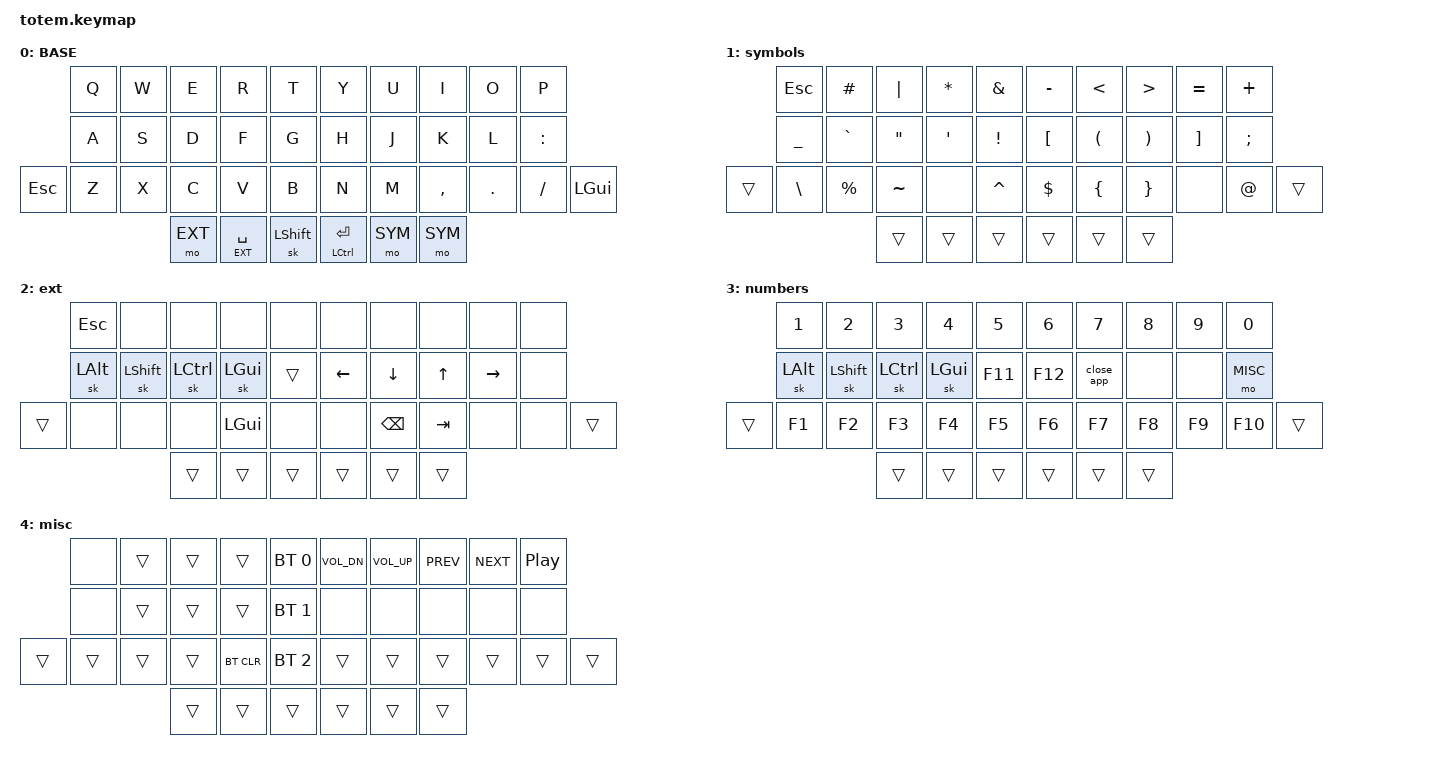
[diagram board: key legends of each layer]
//
//                                                        ▀▀▀▀▀     ▀▀▀▀▀          ▀▀█▀▀
//                                                        ▄▀▀▀▄  ▄  ▄▀▀▀▄  ▄  ▄▀▀▀▄  █  ▄▀▀▀▄
//                                                        █   █  █  █   █  █  █   █  █  █   █
//                                                         ▀▀▀   █   ▀▀▀   █   ▀▀▀   ▀   ▀▀▀
//                                                               █      ▄▄▄█▄▄▄    █   █  
//                                                               ▀      █  █  █     █▄█
//                                                             ▀▀▀▀▀    █  █  █      ▀
//                                                                      ▀  ▀  ▀
//
// ▄▄▄▄▄▄▄▄▄▄▄▄▄▄▄▄▄▄▄▄▄▄▄▄▄▄▄▄▄▄▄▄▄▄▄▄▄▄▄▄▄▄▄▄▄▄▄▄▄▄▄▄▄▄▄▄▄▄▄▄▄▄▄▄▄▄▄▄▄▄▄▄▄▄▄▄▄▄▄▄▄▄▄▄▄▄▄▄▄▄▄▄▄▄▄▄▄▄▄▄▄▄▄▄▄▄▄▄▄▄▄▄▄▄▄▄▄▄▄▄▄▄▄▄▄▄▄▄▄▄▄▄▄▄▄▄▄▄▄▄▄▄▄▄▄▄▄▄▄
       

#include <behaviors.dtsi>
#include <dt-bindings/zmk/keys.h>
#include <dt-bindings/zmk/bt.h>
#include <dt-bindings/zmk/outputs.h>

#define BASE 0
#define SYM 1
#define EXT 2
#define NUM 3
#define MISC 4

&sk {
    release-after-ms = <5000>;
    ignore-modifiers;
};


&mt {
  quick-tap-ms = <100>;
  global-quick-tap;
  flavor = "tap-preferred";
  tapping-term-ms = <170>;
};

/ {

    behaviors {
      ht: hold_tap {
          compatible = "zmk,behavior-hold-tap";
          #binding-cells = <2>;
          flavor = "tap-preferred";
          tapping-term-ms = <220>;
          quick-tap-ms = <150>;
          require-prior-idle-ms = <100>;
          bindings = <&kp>, <&kp>;
      };
    };

    combos {
        compatible = "zmk,combos";
        combo_esc {
            timeout-ms = <50>;
            key-positions = <0 1>;
            bindings = <&kp ESC>;
        };
    };

    macros {
      close_app: close_app {
          compatible = "zmk,behavior-macro";
          #binding-cells = <0>;
          bindings
              = <&macro_press &kp LALT>
              , <&macro_tap &kp F4>
              , <&macro_release &kp LALT>
              ;
          };
      };

    conditional_layers {
      compatible = "zmk,conditional-layers";
      tri_layer {
          if-layers = <1 2>;
          then-layer = <3>;
      };
    };


        keymap {
                compatible = "zmk,keymap";
// ▄▄▄▄▄▄▄▄▄▄▄▄▄▄▄▄▄▄▄▄▄▄▄▄▄▄▄▄▄▄▄▄▄▄▄▄▄▄▄▄▄▄▄▄▄▄▄▄▄▄▄▄▄▄▄▄▄▄▄▄▄▄▄▄▄▄▄▄▄▄▄▄▄▄▄▄▄▄▄▄▄▄▄▄▄▄▄▄▄▄▄▄▄▄▄▄▄▄▄▄▄▄▄▄▄▄▄▄▄▄▄▄▄▄▄▄▄▄▄▄▄▄▄▄▄▄▄▄▄▄▄▄▄▄▄▄▄▄▄▄▄▄▄▄▄▄▄▄▄

                base_layer {
// ┏━━━━━━━━━━━━━━━━━━━━━━━━━━━━━━━━━━━━━━━┓
label= "BASE"                              ;
// ┗━━━━━━━━━━━━━━━━━━━━━━━━━━━━━━━━━━━━━━━┛
//             ┏━━━━━━━━━━━┳━━━━━━━━━━━┳━━━━━━━━━━━┳━━━━━━━━━━━┳━━━━━━━━━━━┓   ┏━━━━━━━━━━━┳━━━━━━━━━━━┳━━━━━━━━━━━┳━━━━━━━━━━━┳━━━━━━━━━━━┓
//             ┃     Q     ┃     W     ┃     F     ┃     P     ┃     G     ┃   ┃     J     ┃     L     ┃     U     ┃     Y     ┃     ;     ┃
//             ┣━━━━━━━━━━━╋━━━━━━━━━━━╋━━━━━━━━━━━╋━━━━━━━━━━━╋━━━━━━━━━━━┫   ┣━━━━━━━━━━━╋━━━━━━━━━━━╋━━━━━━━━━━━╋━━━━━━━━━━━╋━━━━━━━━━━━┫
//             ┃     A     ┃     R     ┃     S     ┃     T     ┃     D     ┃   ┃     H     ┃     N     ┃     E     ┃     I     ┃     O     ┃
// ┏━━━━━━━━━━━╋━━━━━━━━━━━╋━━━━━━━━━━━╋━━━━━━━━━━━╋━━━━━━━━━━━╋━━━━━━━━━━━┫   ┣━━━━━━━━━━━╋━━━━━━━━━━━╋━━━━━━━━━━━╋━━━━━━━━━━━╋━━━━━━━━━━━╋━━━━━━━━━━━┓
// ┃     Q     ┃     Z     ┃     X     ┃     C     ┃     V     ┃     B     ┃   ┃     K     ┃     M     ┃     ,     ┃     .     ┃     /     ┃     \     ┃
// ┗━━━━━━━━━━━┻━━━━━━━━━━━┻━━━━━━━━━━━╋━━━━━━━━━━━╋━━━━━━━━━━━╋━━━━━━━━━━━┫   ┣━━━━━━━━━━━╋━━━━━━━━━━━╋━━━━━━━━━━━╋━━━━━━━━━━━┻━━━━━━━━━━━┻━━━━━━━━━━━┛
//                                     ┃    DEL    ┃    TAB    ┃    SPC    ┃   ┃   ENTER   ┃           ┃   BSPC    ┃
//                                     ┗━━━━━━━━━━━┻━━━━━━━━━━━┻━━━━━━━━━━━┛   ┗━━━━━━━━━━━┻━━━━━━━━━━━┻━━━━━━━━━━━┛
 bindings = <
// ╷           ╷           ╷           ╷           ╷           ╷           ╷   ╷           ╷           ╷           ╷           ╷           ╷           ╷

                &kp Q       &kp W       &kp E         &kp R       &kp T           &kp Y       &kp U       &kp I       &kp O       &kp P
                &kp A       &kp S       &kp D         &kp F       &kp G           &kp H       &kp J       &kp K       &kp L      &kp COLON
     &kp ESC    &kp Z       &kp X       &kp C          &kp V   &kp B               &kp N    &kp M     &kp COMMA      &kp DOT    &kp FSLH  &kp LGUI
                                     &mo EXT   &lt EXT SPACE  &sk LSHFT               &mt LCTRL ENTER  &mo SYM &mo SYM
                        >;
                };

// ▄▄▄▄▄▄▄▄▄▄▄▄▄▄▄▄▄▄▄▄▄▄▄▄▄▄▄▄▄▄▄▄▄▄▄▄▄▄▄▄▄▄▄▄▄▄▄▄▄▄▄▄▄▄▄▄▄▄▄▄▄▄▄▄▄▄▄▄▄▄▄▄▄▄▄▄▄▄▄▄▄▄▄▄▄▄▄▄▄▄▄▄▄▄▄▄▄▄▄▄▄▄▄▄▄▄▄▄▄▄▄▄▄▄▄▄▄▄▄▄▄▄▄▄▄▄▄▄▄▄▄▄▄▄▄▄▄▄▄▄▄▄▄▄▄▄▄▄▄

        symbols {
            bindings = <
        //╭──────────┬──────────┬──────────┬──────────┬──────────╮   ╭──────────┬──────────┬──────────┬──────────┬──────────╮
            &kp ESC    &kp HASH    &kp PIPE   &kp STAR   &kp AMPS      &kp MINUS  &kp LT      &kp GT   &kp EQUAL    &kp PLUS
        //├──────────┼──────────┼──────────┼──────────┼──────────┤   ├──────────┼──────────┼──────────┼──────────┼──────────┤
           &kp UNDER   &kp GRAVE  &kp DQT   &kp SQT      &kp EXCL        &kp LBKT  &kp LPAR    &kp RPAR   &kp RBKT   &kp SEMI
        //├──────────┼──────────┼──────────┼──────────┼──────────┤   ├──────────┼──────────┼──────────┼──────────┼──────────┤
    &trans    &kp BACKSLASH &kp PRCNT  &kp TILDE    &none   &kp CARET        &kp DLLR  &kp LBRC  &kp RBRC    &none      &kp AT  &trans
        //╰──────────┴──────────┴──────────┼──────────┼──────────┤   ├──────────┼──────────┼──────────┴──────────┴──────────╯
                                        &trans     &trans  &trans      &trans &trans     &trans
        //                                 ╰──────────┴──────────╯   ╰──────────┴──────────╯
            >;
        };

// ▄▄▄▄▄▄▄▄▄▄▄▄▄▄▄▄▄▄▄▄▄▄▄▄▄▄▄▄▄▄▄▄▄▄▄▄▄▄▄▄▄▄▄▄▄▄▄▄▄▄▄▄▄▄▄▄▄▄▄▄▄▄▄▄▄▄▄▄▄▄▄▄▄▄▄▄▄▄▄▄▄▄▄▄▄▄▄▄▄▄▄▄▄▄▄▄▄▄▄▄▄▄▄▄▄▄▄▄▄▄▄▄▄▄▄▄▄▄▄▄▄▄▄▄▄▄▄▄▄▄▄▄▄▄▄▄▄▄▄▄▄▄▄▄▄▄▄▄▄

            ext {
            bindings = <
        //╭──────────┬──────────┬──────────┬──────────┬──────────╮   ╭──────────┬──────────┬──────────┬──────────┬──────────╮
            &kp ESC      &none     &none     &none      &none           &none     &none      &none       &none     &none
        //├──────────┼──────────┼──────────┼──────────┼──────────┤   ├──────────┼──────────┼──────────┼──────────┼──────────┤
             &sk LALT  &sk LSHFT  &sk LCTRL  &sk LGUI     &trans       &kp LEFT   &kp DOWN     &kp UP    &kp RIGHT  &none
        //├──────────┼──────────┼──────────┼──────────┼──────────┤   ├──────────┼──────────┼──────────┼──────────┼──────────┤
           &trans    &none    &none     &none      &kp LGUI      &none       &none      &kp BSPC    &kp TAB     &none      &none  &trans
        //╰──────────┴──────────┴──────────┼──────────┼──────────┤   ├──────────┼──────────┼──────────┴──────────┴──────────╯
                                        &trans     &trans  &trans      &trans &trans     &trans
        //                                 ╰──────────┴──────────╯   ╰──────────┴──────────╯
            >;
        };



// ▄▄▄▄▄▄▄▄▄▄▄▄▄▄▄▄▄▄▄▄▄▄▄▄▄▄▄▄▄▄▄▄▄▄▄▄▄▄▄▄▄▄▄▄▄▄▄▄▄▄▄▄▄▄▄▄▄▄▄▄▄▄▄▄▄▄▄▄▄▄▄▄▄▄▄▄▄▄▄▄▄▄▄▄▄▄▄▄▄▄▄▄▄▄▄▄▄▄▄▄▄▄▄▄▄▄▄▄▄▄▄▄▄▄▄▄▄▄▄▄▄▄▄▄▄▄▄▄▄▄▄▄▄▄▄▄▄▄▄▄▄▄▄▄▄▄▄▄▄


        numbers {
            bindings = <
        //╭──────────┬──────────┬──────────┬──────────┬──────────╮   ╭──────────┬──────────┬──────────┬──────────┬──────────╮
            &kp N1     &kp N2     &kp N3    &kp N4      &kp N5         &kp N6    &kp N7     &kp N8       &kp N9   &kp N0
        //├──────────┼──────────┼──────────┼──────────┼──────────┤   ├──────────┼──────────┼──────────┼──────────┼──────────┤
            &sk LALT  &sk LSHFT  &sk LCTRL  &sk LGUI     &kp F11       &kp F12   &close_app     &none    &none     &mo MISC
        //├──────────┼──────────┼──────────┼──────────┼──────────┤   ├──────────┼──────────┼──────────┼──────────┼──────────┤
    &trans        &kp F1      &kp F2     &kp F3     &kp F4     &kp F5          &kp F6     &kp F7     &kp F8     &kp F9     &kp F10   &trans
        //╰──────────┴──────────┴──────────┼──────────┼──────────┤   ├──────────┼──────────┼──────────┴──────────┴──────────╯
                                        &trans     &trans  &trans      &trans &trans     &trans
        //                                 ╰──────────┴──────────╯   ╰──────────┴──────────╯
            >;
        };

// ▄▄▄▄▄▄▄▄▄▄▄▄▄▄▄▄▄▄▄▄▄▄▄▄▄▄▄▄▄▄▄▄▄▄▄▄▄▄▄▄▄▄▄▄▄▄▄▄▄▄▄▄▄▄▄▄▄▄▄▄▄▄▄▄▄▄▄▄▄▄▄▄▄▄▄▄▄▄▄▄▄▄▄▄▄▄▄▄▄▄▄▄▄▄▄▄▄▄▄▄▄▄▄▄▄▄▄▄▄▄▄▄▄▄▄▄▄▄▄▄▄▄▄▄▄▄▄▄▄▄▄▄▄▄▄▄▄▄▄▄▄▄▄▄▄▄▄▄▄

            misc {
            bindings = <
        //╭──────────┬──────────┬──────────┬──────────┬──────────╮   ╭──────────┬──────────┬──────────┬──────────┬──────────╮
           &none   &trans     &trans     &trans   &bt BT_SEL 0       &kp C_VOL_DN  &kp C_VOL_UP     &kp C_PREV     &kp C_NEXT     &kp C_PP
        //├──────────┼──────────┼──────────┼──────────┼──────────┤   ├──────────┼──────────┼──────────┼──────────┼──────────┤
          &none  &trans     &trans     &trans    &bt BT_SEL 1           &none    &none    &none   &none     &none
        //├──────────┼──────────┼──────────┼──────────┼──────────┤   ├──────────┼──────────┼──────────┼──────────┼──────────┤
    &trans        &trans     &trans     &trans    &bt BT_CLR &bt BT_SEL 2    &trans     &trans     &trans     &trans     &trans  &trans
        //╰──────────┴──────────┴──────────┼──────────┼──────────┤   ├──────────┼──────────┼──────────┴──────────┴──────────╯
                                        &trans     &trans  &trans      &trans &trans     &trans
        //                                 ╰──────────┴──────────╯   ╰──────────┴──────────╯
            >;
        };


// ▄▄▄▄▄▄▄▄▄▄▄▄▄▄▄▄▄▄▄▄▄▄▄▄▄▄▄▄▄▄▄▄▄▄▄▄▄▄▄▄▄▄▄▄▄▄▄▄▄▄▄▄▄▄▄▄▄▄▄▄▄▄▄▄▄▄▄▄▄▄▄▄▄▄▄▄▄▄▄▄▄▄▄▄▄▄▄▄▄▄▄▄▄▄▄▄▄▄▄▄▄▄▄▄▄▄▄▄▄▄▄▄▄▄▄▄▄▄▄▄▄▄▄▄▄▄▄▄▄▄▄▄▄▄▄▄▄▄▄▄▄▄▄▄▄▄▄▄▄

        };
};
